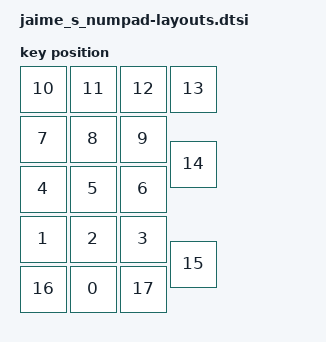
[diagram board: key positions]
#include <physical_layouts.dtsi>

/ {
    physical_layout_jaime_s_numpad: physical_layout_jaime_s_numpad {
        compatible = "zmk,physical-layout";
        display-name = "Jaime's Numpad";
        keys  //                     w   h    x    y     rot    rx    ry
            = <&key_physical_attrs 100 100  100  400       0   100   400>
            , <&key_physical_attrs 100 100    0  300       0     0   300>
            , <&key_physical_attrs 100 100  100  300       0   100   300>
            , <&key_physical_attrs 100 100  200  300       0   200   300>
            , <&key_physical_attrs 100 100    0  200       0     0   200>
            , <&key_physical_attrs 100 100  100  200       0   100   200>
            , <&key_physical_attrs 100 100  200  200       0   200   200>
            , <&key_physical_attrs 100 100    0  100       0     0   100>
            , <&key_physical_attrs 100 100  100  100       0   100   100>
            , <&key_physical_attrs 100 100  200  100       0   200   100>
            , <&key_physical_attrs 100 100    0    0       0     0     0>
            , <&key_physical_attrs 100 100  100    0       0   100     0>
            , <&key_physical_attrs 100 100  200    0       0   200     0>
            , <&key_physical_attrs 100 100  300    0       0   300     0>
            , <&key_physical_attrs 100 100  300  150       0   300   150>
            , <&key_physical_attrs 100 100  300  350       0   300   350>
            , <&key_physical_attrs 100 100    0  400       0     0   400>
            , <&key_physical_attrs 100 100  200  400       0   200   400>
            ;
    };
};
